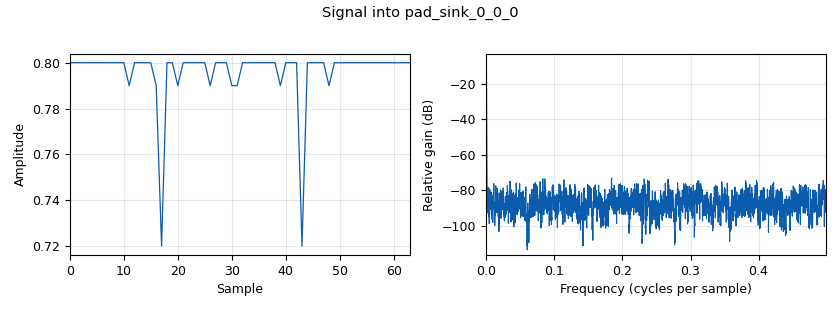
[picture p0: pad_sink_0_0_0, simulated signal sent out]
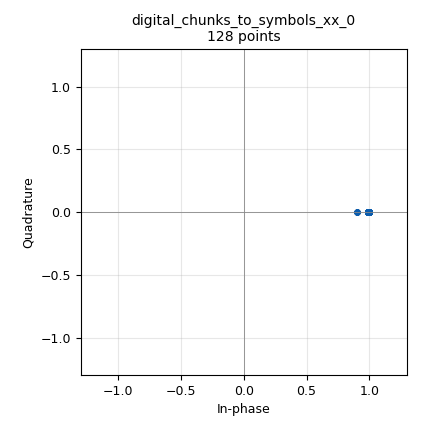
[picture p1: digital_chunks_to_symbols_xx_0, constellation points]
<?xml version='1.0' encoding='utf-8'?>
<?grc format='1' created='3.7.13'?>
<flow_graph>
<block>
<key>options</key>
<param><key>id</key><value>b_Canal_simple_cc</value></param>
<param><key>author</key><value>Homero Ortega Boada. Universidad Industrial de Santander</value></param>
<param><key>category</key><value>comdiguis</value></param>
<param><key>description</key><value>Este bloque es un simulador de un canal discreto, sencillo. La simplicidad de este canal esta en aplicar solo lo siguiente: ruido, desviacion de frecuencia, desviacion de angulo, fluctuaciones de magnitud, perdidas de propagacion. Para las fluctuaciones se supone que el umbral de amplitud de la senal que entra al canal es 1, como es el caso de los USRP. Parametros usados: samp_rate_Tx (Hz) es la frecuencia de muestreo del USRP transmisor;  Ch_Phoffset (Rad) permite programar el angulo de la portadora usada en transmision y la usada en recepcion; Ch_Toffset (muestras)  es el retardo que la senal sufre al pasar por el canal; No (dB) es el valor No (o PSD) dado en decibeles del ruido blanco del canal; Ch_Loss_dB (en dB de potencia) nivel de atenuacion que la senal transmitida sufre en el proceso de propagacion; Fluctuation - es el porcentaje de fluctuaciones en magnitud (un numero entero entre 0 y 100); Tfluct - es el periodo, dado en numero de muestras, en que ocurren las fluctuaciones</value></param>
<param><key>generate_options</key><value>hb</value></param>
<param><key>title</key><value>b_Canal_simple_cc</value></param>
</block>
<block>
<key>variable</key>
<param><key>id</key><value>Ch_Loss</value></param>
<param><key>value</key><value>math.pow(10, Ch_Loss_dB/20.)</value></param>
</block>
<block>
<key>variable</key>
<param><key>id</key><value>F</value></param>
<param><key>value</key><value>Fluctuacion/100.</value></param>
</block>
<block>
<key>parameter</key>
<param><key>id</key><value>Ch_Loss_dB</value></param>
<param><key>label</key><value>Ch_Loss_dB</value></param>
<param><key>type</key><value>eng_float</value></param>
<param><key>value</key><value>10.</value></param>
</block>
<block>
<key>parameter</key>
<param><key>id</key><value>Ch_NodB</value></param>
<param><key>label</key><value>Ch. W.Noise (No in dB)</value></param>
<param><key>type</key><value>intx</value></param>
<param><key>value</key><value>1000</value></param>
</block>
<block>
<key>parameter</key>
<param><key>id</key><value>Ch_Phoffset</value></param>
<param><key>label</key><value>Ch_Phoffset</value></param>
<param><key>type</key><value>eng_float</value></param>
<param><key>value</key><value>0.</value></param>
</block>
<block>
<key>parameter</key>
<param><key>id</key><value>Ch_Toffset</value></param>
<param><key>label</key><value>Channel Toffset</value></param>
<param><key>type</key><value>intx</value></param>
<param><key>value</key><value>0</value></param>
</block>
<block>
<key>parameter</key>
<param><key>id</key><value>Fluctuacion</value></param>
<param><key>label</key><value>Fluctuacion (0-100)</value></param>
<param><key>type</key><value>eng_float</value></param>
<param><key>value</key><value>10.0</value></param>
</block>
<block>
<key>parameter</key>
<param><key>id</key><value>Foffset</value></param>
<param><key>label</key><value>Freq offset (Hz)</value></param>
<param><key>type</key><value>eng_float</value></param>
<param><key>value</key><value>0.</value></param>
</block>
<block>
<key>parameter</key>
<param><key>id</key><value>N_fluct</value></param>
<param><key>label</key><value>T_fluct (muestras)</value></param>
<param><key>type</key><value>intx</value></param>
<param><key>value</key><value>1</value></param>
</block>
<block>
<key>note</key>
<param><key>id</key><value>Note</value></param>
<param><key>note</key><value>Esta ramificacion de abajo es la que introduce las fluctuaciones en magnitud</value></param>
</block>
<block>
<key>analog_const_source_x</key>
<param><key>id</key><value>analog_const_source_x_1_0</value></param>
<param><key>const</key><value>cmath.exp(1j * Ch_Phoffset)</value></param>
<param><key>type</key><value>complex</value></param>
</block>
<block>
<key>analog_random_source_x</key>
<param><key>id</key><value>analog_random_source_x_0</value></param>
<param><key>max</key><value>128</value></param>
<param><key>min</key><value>0</value></param>
<param><key>num_samps</key><value>1000</value></param>
<param><key>type</key><value>byte</value></param>
<param><key>repeat</key><value>True</value></param>
</block>
<block>
<key>analog_sig_source_x</key>
<param><key>id</key><value>analog_sig_source_x_0</value></param>
<param><key>amp</key><value>1</value></param>
<param><key>freq</key><value>Foffset</value></param>
<param><key>offset</key><value>0</value></param>
<param><key>type</key><value>complex</value></param>
<param><key>samp_rate</key><value>samp_rate</value></param>
<param><key>waveform</key><value>analog.GR_COS_WAVE</value></param>
</block>
<block>
<key>b_noise_dB_cc</key>
<param><key>id</key><value>b_noise_dB_cc_0</value></param>
<param><key>NodB</key><value>Ch_NodB</value></param>
<param><key>samp_rate</key><value>samp_rate</value></param>
</block>
<block>
<key>blocks_add_xx</key>
<param><key>id</key><value>blocks_add_xx_0</value></param>
<param><key>type</key><value>complex</value></param>
</block>
<block>
<key>blocks_delay</key>
<param><key>id</key><value>blocks_delay_0</value></param>
<param><key>delay</key><value>Ch_Toffset</value></param>
<param><key>type</key><value>complex</value></param>
</block>
<block>
<key>blocks_float_to_complex</key>
<param><key>id</key><value>blocks_float_to_complex_0</value></param>
</block>
<block>
<key>blocks_multiply_const_vxx</key>
<param><key>id</key><value>blocks_multiply_const_vxx_0</value></param>
<param><key>const</key><value>1/Ch_Loss+0j</value></param>
<param><key>type</key><value>complex</value></param>
</block>
<block>
<key>blocks_multiply_const_vxx</key>
<param><key>id</key><value>blocks_multiply_const_vxx_1</value></param>
<param><key>const</key><value>.8</value></param>
<param><key>type</key><value>float</value></param>
</block>
<block>
<key>blocks_multiply_xx</key>
<param><key>id</key><value>blocks_multiply_xx_0_0</value></param>
<param><key>type</key><value>complex</value></param>
<param><key>num_inputs</key><value>4</value></param>
</block>
<block>
<key>blocks_null_source</key>
<param><key>id</key><value>blocks_null_source_0</value></param>
<param><key>bus_conns</key><value>[[0,],]</value></param>
<param><key>type</key><value>float</value></param>
</block>
<block>
<key>digital_chunks_to_symbols_xx</key>
<param><key>id</key><value>digital_chunks_to_symbols_xx_0</value></param>
<param><key>dimension</key><value>1</value></param>
<param><key>in_type</key><value>byte</value></param>
<param><key>out_type</key><value>float</value></param>
<param><key>symbol_table</key><value>(112*[1.])+(14*[1.-F/8])+([1., 1.-F])</value></param>
</block>
<block>
<key>import</key>
<param><key>id</key><value>import_0_1</value></param>
<param><key>import</key><value>import cmath</value></param>
</block>
<block>
<key>import</key>
<param><key>id</key><value>import_0_1_0</value></param>
<param><key>import</key><value>import numpy</value></param>
</block>
<block>
<key>import</key>
<param><key>id</key><value>import_0_1_0_0</value></param>
<param><key>import</key><value>import random</value></param>
</block>
<block>
<key>import</key>
<param><key>id</key><value>import_0_1_1</value></param>
<param><key>import</key><value>import math</value></param>
</block>
<block>
<key>interp_fir_filter_xxx</key>
<param><key>id</key><value>interp_fir_filter_xxx_0</value></param>
<param><key>interp</key><value>N_fluct</value></param>
<param><key>taps</key><value>wform.rcos(N_fluct,N_fluct,0.5)</value></param>
<param><key>type</key><value>fff</value></param>
</block>
<block>
<key>pad_sink</key>
<param><key>id</key><value>pad_sink_0</value></param>
<param><key>type</key><value>complex</value></param>
<param><key>label</key><value>out</value></param>
</block>
<block>
<key>pad_sink</key>
<param><key>id</key><value>pad_sink_0_0</value></param>
<param><key>type</key><value>complex</value></param>
<param><key>label</key><value>Noise</value></param>
<param><key>optional</key><value>True</value></param>
</block>
<block>
<key>pad_sink</key>
<param><key>id</key><value>pad_sink_0_0_0</value></param>
<param><key>type</key><value>float</value></param>
<param><key>label</key><value>Fluctuacion</value></param>
<param><key>optional</key><value>True</value></param>
</block>
<block>
<key>pad_source</key>
<param><key>id</key><value>pad_source_0</value></param>
<param><key>label</key><value>in</value></param>
<param><key>type</key><value>complex</value></param>
</block>
<block>
<key>parameter</key>
<param><key>id</key><value>samp_rate</value></param>
<param><key>label</key><value>samp_rate</value></param>
<param><key>type</key><value>intx</value></param>
<param><key>value</key><value>1000</value></param>
</block>
<block>
<key>epy_module</key>
<param><key>id</key><value>wform</value></param>
<param><key>source_code</key><value>import math
import numpy
#######################################################
##        Hecho por Homero Ortega Boada              ##
##        comdiguis@saber.uis.edu.co                 ##
##     Universidad Industrial de Santander           ##
#######################################################

#######################################################
##               Forma rectangular                   ##
#######################################################                       
def rect(Sps,ntaps):
    h=ntaps*[0,]
    for n in range(Sps):
        k=int(ntaps/2) # esto es para que h[n] quede centrada en la mitad del vector
        h[k-n]=1.
    return h

#######################################################
##               Forma de Nyquist                    ##
#######################################################                       
def nyq(Sps,ntaps):
    ntaps_min=-int(ntaps/2)
    ntaps_max=abs(ntaps_min)-1+int(math.ceil(ntaps/2.-abs(ntaps_min)))
    h=ntaps*[0,]
    for n in range(ntaps):
        k=n-ntaps/2. # esto es para que h[n] quede centrada en la mitad del vector
        h[n]=numpy.sinc(k/Sps)
    Amp=numpy.amax(h)
    return h/Amp

#######################################################
##               Forma Coseno Alzado                 ##
#######################################################                       
def rcos(Sps,ntaps,beta):
    if beta==0:
        h=nyq(Sps,ntaps)
    else:
        h=ntaps*[0,]
        for n in range(ntaps):
            k=n-ntaps/2. # esto es para que h[n] quede centrada en la mitad del vector
            if abs(k)==Sps/(2.*beta):
                h[n]=numpy.sinc(1./(2.*beta))*math.pi/4.
            else:
                h[n]=numpy.sinc(k/Sps)*math.cos(beta*k*math.pi/Sps)/(1.-(2.*beta*k/Sps)**2)                
    Amp=numpy.amax(h)
    return h/Amp

#######################################################
##            Forma Raiz de Coseno Alzado            ##
#######################################################                       

def rrcos(Sps,ntaps,beta):
    if beta==0:
        h=nyq(Sps,ntaps)
    else:
        h=ntaps*[0,]
        beta4=4.*beta
        for n in range(ntaps):
            k=n-ntaps/2. # esto es para que h[n] quede centrada en la mitad del vector
            if k==0:
                h[n]=1+beta*(4./math.pi-1.)
            elif abs(k)==Sps/beta4:
                ha=(1.+2./math.pi)*math.sin(math.pi/beta4)
                hb=(1.-2./math.pi)*math.cos(math.pi/beta4)
                h[n]=(ha+hb)*beta/math.sqrt(2.)
            else:
                ks=k/Sps
                kspi=math.pi*ks
                Num=math.sin(kspi*(1-beta))+beta4*ks*math.cos(kspi*(1+beta))
                Den=kspi*(1.-(beta4*ks)**2)
                h[n]=Num/Den                
    Amp=numpy.amax(h)
    return h/Amp
</value></param>
</block>
<connection><source_block_id>analog_const_source_x_1_0</source_block_id><sink_block_id>blocks_multiply_xx_0_0</sink_block_id><source_key>0</source_key><sink_key>1</sink_key></connection>
<connection><source_block_id>analog_random_source_x_0</source_block_id><sink_block_id>digital_chunks_to_symbols_xx_0</sink_block_id><source_key>0</source_key><sink_key>0</sink_key></connection>
<connection><source_block_id>analog_sig_source_x_0</source_block_id><sink_block_id>blocks_multiply_xx_0_0</sink_block_id><source_key>0</source_key><sink_key>2</sink_key></connection>
<connection><source_block_id>b_noise_dB_cc_0</source_block_id><sink_block_id>blocks_add_xx_0</sink_block_id><source_key>0</source_key><sink_key>1</sink_key></connection>
<connection><source_block_id>b_noise_dB_cc_0</source_block_id><sink_block_id>pad_sink_0_0</sink_block_id><source_key>0</source_key><sink_key>0</sink_key></connection>
<connection><source_block_id>blocks_add_xx_0</source_block_id><sink_block_id>pad_sink_0</sink_block_id><source_key>0</source_key><sink_key>0</sink_key></connection>
<connection><source_block_id>blocks_delay_0</source_block_id><sink_block_id>blocks_multiply_xx_0_0</sink_block_id><source_key>0</source_key><sink_key>0</sink_key></connection>
<connection><source_block_id>blocks_float_to_complex_0</source_block_id><sink_block_id>blocks_multiply_xx_0_0</sink_block_id><source_key>0</source_key><sink_key>3</sink_key></connection>
<connection><source_block_id>blocks_multiply_const_vxx_0</source_block_id><sink_block_id>blocks_add_xx_0</sink_block_id><source_key>0</source_key><sink_key>0</sink_key></connection>
<connection><source_block_id>blocks_multiply_const_vxx_1</source_block_id><sink_block_id>interp_fir_filter_xxx_0</sink_block_id><source_key>0</source_key><sink_key>0</sink_key></connection>
<connection><source_block_id>blocks_multiply_xx_0_0</source_block_id><sink_block_id>blocks_multiply_const_vxx_0</sink_block_id><source_key>0</source_key><sink_key>0</sink_key></connection>
<connection><source_block_id>blocks_null_source_0</source_block_id><sink_block_id>blocks_float_to_complex_0</sink_block_id><source_key>0</source_key><sink_key>1</sink_key></connection>
<connection><source_block_id>digital_chunks_to_symbols_xx_0</source_block_id><sink_block_id>blocks_multiply_const_vxx_1</sink_block_id><source_key>0</source_key><sink_key>0</sink_key></connection>
<connection><source_block_id>interp_fir_filter_xxx_0</source_block_id><sink_block_id>blocks_float_to_complex_0</sink_block_id><source_key>0</source_key><sink_key>0</sink_key></connection>
<connection><source_block_id>interp_fir_filter_xxx_0</source_block_id><sink_block_id>pad_sink_0_0_0</sink_block_id><source_key>0</source_key><sink_key>0</sink_key></connection>
<connection><source_block_id>pad_source_0</source_block_id><sink_block_id>blocks_delay_0</sink_block_id><source_key>0</source_key><sink_key>0</sink_key></connection>
</flow_graph>
